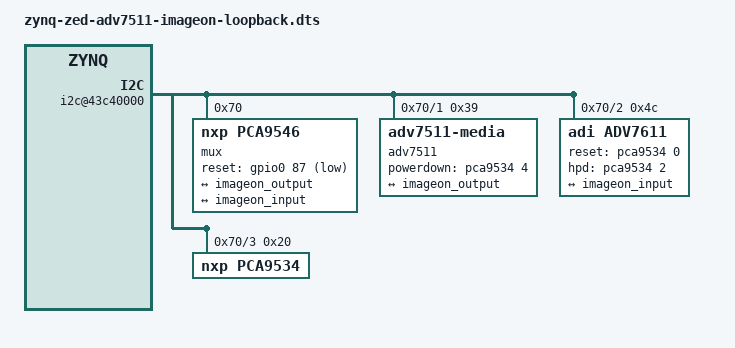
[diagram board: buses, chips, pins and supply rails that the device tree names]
/dts-v1/;

/include/ "zynq-zed.dtsi"
#include <dt-bindings/gpio/gpio.h>

/ {
	fpga_axi: fpga-axi@0 {
		compatible = "simple-bus";
		#address-cells = <0x1>;
		#size-cells = <0x1>;
		ranges;

		i2c@43c40000 {
			compatible = "xlnx,axi-iic-1.01.b", "xlnx,xps-iic-2.00.a";
			reg = <0x43c40000 0x10000>;
			interrupt-parent = <&intc>;
			interrupts = <0 55 0x4>;
			clocks = <&clkc 15>;
			clock-names = "pclk";

			#size-cells = <0>;
			#address-cells = <1>;

			mux@70 {
				compatible = "nxp,pca9546";
				reg = <0x70>;
				reset-gpio = <&gpio0 87 1>;
				#address-cells = <1>;
				#size-cells = <0>;
				i2c@1 {
					#size-cells = <0>;
					#address-cells = <1>;
					reg = <1>;

					adv7511@39 {
						compatible = "adv7511-media";
						reg = <0x39>;

						powerdown-gpio = <&pca9534 4 GPIO_ACTIVE_HIGH>;

						edid-addr = <0x3F>;
						pktmem-addr = <0x38>;
						cec-addr = <0x3C>;

						video-input {
							input-id = <2>;
							input-style = <1>;
							input-color-depth = <8>;
							bit-justification = <2>;
							hsync-polarity = <0>;
							vsync-polarity = <0>;
							clock-delay = <3>;
						};

						video-output {
							hdmi-mode = <1>;
							output-format = <1>;
							output-color-space = <1>;
							up-conversion = <0>;
							csc-enable = <0>;
							csc-scaling-factor = <2>;
							csc-coefficients {
								a1 = <0x0B37>;
								a2 = <0x0800>;
								a3 = <0x0000>;
								a4 = <0x1A86>;
								b1 = <0x1A49>;
								b2 = <0x0800>;
								b3 = <0x1D3F>;
								b4 = <0x0422>;
								c1 = <0x0000>;
								c2 = <0x0800>;
								c3 = <0x0E2D>;
								c4 = <0x1914>;
							};
						};

						port {
							adv7511_media: endpoint {
								remote-endpoint = <&imageon_output>;
							};
						};

					};
				};

				i2c@2 {
					#size-cells = <0>;
					#address-cells = <1>;
					reg = <2>;

					adv7611@4c {
						compatible = "adi,adv7611";
						reg = <0x4c>;
						#address-cells = <0x1>;
						#size-cells = <0x0>;

						reset-gpios = <&pca9534 0 0>;
						hpd-gpios = <&pca9534 2 0>;

						port@0 {
							reg = <0x0>;
						};

						port@1 {
							reg = <0x1>;
							adv7611: endpoint {
								remote-endpoint = <&imageon_input>;
							};
						};
					};
				};

				i2c@3 {
					#size-cells = <0>;
					#address-cells = <1>;
					reg = <3>;

					pca9534: pca9534@20 {
						compatible = "nxp,pca9534";
						reg = <0x20>;
						gpio-controller;
						#gpio-cells = <2>;
					};
				};
			};
		};
	};

	axi_hdmi_clkgen: axi-clkgen@79000000 {
		compatible = "adi,axi-clkgen-2.00.a";
		reg = <0x79000000 0x10000>;
		#clock-cells = <0>;
		clocks = <&clkc 16>;
	};

	imageon_bridge {
		compatible = "adi,imageon-v4l2-bridge-1.00.a";
		interrupt-parent = <&gpio0>;
		interrupts = <86 0>;
		memory-region = <&reserved>;
		reg = <0x70e00000 0x10000>, <0x43100000 0x10000>;
		reg-names = "tx_hdmi", "rx_hdmi";
		clocks = <&axi_hdmi_clkgen 0>;
		clock-names = "hdmi_clk";
		ports {
			#address-cells = <1>;
			#size-cells = <0>;

			port@0 {
			    reg = <0>;
			    imageon_input: endpoint {
			        remote-endpoint = <&adv7611>;
			    };
			};

			port@1 {
			    reg = <1>;
			    imageon_output: endpoint {
			        remote-endpoint = <&adv7511_media>;
			    };
			};
		};
	};

	adi-fb {
		compatible = "adi,framebuffer-0.00.a";
		memory-region = <&reserved>;
		reg = <0x43000000 0x1000>, <0x43c20000 0x1000>;
		reg-names = "tx_dma", "rx_dma";
		flock,resolution = <1920>, <1080>;
		flock,distance = <0>;
		flock,mode = <0>;
		flock,dwidth = <4>;
		flock,frm-buf-nr = <3>;
	};

	reserved-memory {
		#address-cells = <1>;
		#size-cells = <1>;
		ranges;

		reserved: buffer@0 {
			no-map;
			reg = <0x1C000000 0x2000000>;
			};
	};
};
